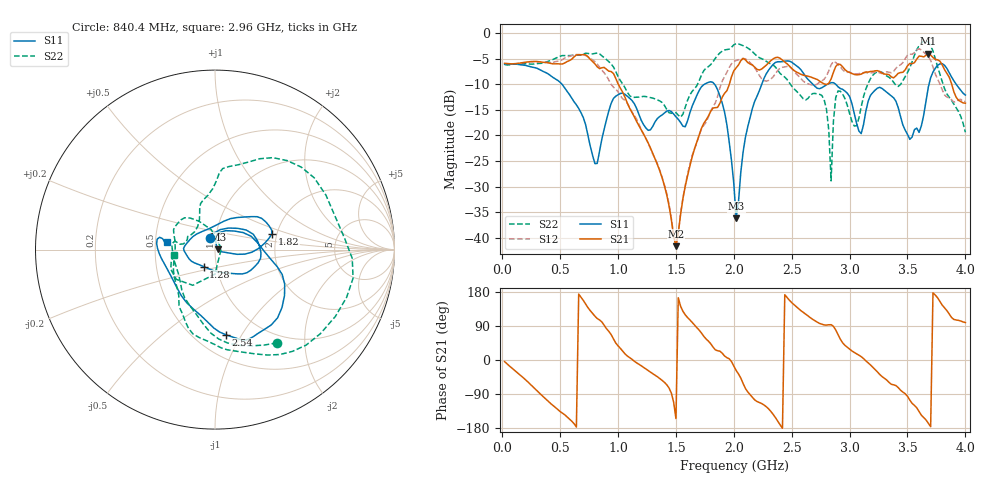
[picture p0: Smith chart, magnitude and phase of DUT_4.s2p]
# Hz S DB R 50
! CMT, S5180, 51801906, 22.3.3/1
! Date: 27/01/2023 17:19:16
! Data: Format (Calibration Info)
! Freq	S11:dB/Ang(F2)	S21:dB/Ang(F2)	S12:dB/Ang(F2)	S22:dB/Ang(F2)
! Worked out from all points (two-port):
!   200 points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, 20.5 MHz to 4 GHz, reference 50 ohm
!   highest |S21| = -4.08 dB at 3.68 GHz (marker M1); lowest = -41.6 dB at 1.5 GHz (marker M2)
!   |S21| within 3 dB of the highest: start of sweep to 899.3 MHz; 3.483 GHz to 3.818 GHz (334.7 MHz wide, 9.17 % of centre)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
!   lowest |S11| = -36.1 dB at 2.02 GHz (marker M3), VSWR 1.03, Z = 51.6 + j0.0635 ohm
!   |S11| at or under -10 dB: 515.4 MHz to 1.748 GHz (1.232 GHz wide, 109 % of centre); 1.833 GHz to 2.241 GHz (408.3 MHz wide, 20 % of centre); 2.88 GHz to 3.686 GHz (806.3 MHz wide, 24.6 % of centre)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
!   |S22| runs from -28.9 to -1.5 dB; largest |S21 - S12| = 0.27
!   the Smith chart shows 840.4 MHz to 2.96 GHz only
!   S11 on the Smith chart (normalised r, x): 840.4 MHz: 0.94, +0.12; 1.28 GHz: 0.87, -0.17; 1.82 GHz: 1.88, +0.37; 2.54 GHz: 0.70, -0.86; 2.96 GHz: 0.58, +0.05
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2.04975e7  -6.10 176.0  -5.93 -4.2  -6.04 -3.3  -6.15 -178.6
3.60455e8  -7.58 81.5  -5.74 -98.5  -5.75 -97.7  -5.83 101.5
7.004125e8  -16.53 -53.2  -4.22 157.2  -4.28 153.9  -4.11 6.6
8.40395e8  -23.10 112.0  -6.97 105.7  -6.68 94.5  -4.09 -56.3
1.020372e9  -11.81 -4.0  -10.79 30.7  -12.28 36.7  -9.30 -114.1
1.28034e9  -18.90 -123.7  -22.45 -32.2  -22.62 -30.6  -12.62 169.8
1.36033e9  -16.29 -160.0  -26.89 -48.8  -26.76 -46.0  -13.26 169.0
1.500312e9  -16.37 159.8  -41.60 -154.6  -41.44 -151.7  -15.54 153.3
1.820272e9  -9.66 15.6  -14.65 34.2  -14.39 48.6  -5.62 68.9
2.020248e9  -36.13 2.3  -6.80 -27.6  -5.38 -39.5  -2.10 -11.7
2.180228e9  -13.35 20.1  -6.66 -105.2  -6.78 -117.5  -4.10 -68.8
2.540182e9  -6.40 -82.6  -7.63 140.6  -8.02 146.6  -11.34 -147.2
2.680165e9  -9.94 -125.9  -8.73 107.4  -10.21 120.2  -11.83 154.4
2.80015e9  -10.12 -176.2  -10.07 92.2  -8.41 105.5  -14.87 119.3
2.840145e9  -9.71 173.8  -8.99 93.1  -6.24 92.7  -28.87 10.4
2.88014e9  -10.00 167.5  -6.55 79.2  -5.76 66.8  -12.62 -121.9
2.96013e9  -11.34 171.2  -7.16 38.6  -7.60 38.0  -12.84 -172.6
3.100112e9  -19.65 97.0  -8.04 8.8  -7.86 8.4  -14.43 68.5
3.340082e9  -11.90 25.3  -8.13 -59.0  -7.66 -50.7  -8.65 31.1
3.52006e9  -20.76 -68.0  -5.95 -105.8  -4.14 -101.1  -6.78 -30.6
3.68004e9  -10.56 -14.5  -4.08 -166.9  -4.61 178.0  -1.83 -83.4
4e9  -12.12 -117.2  -13.71 98.9  -13.35 105.4  -19.38 137.3
